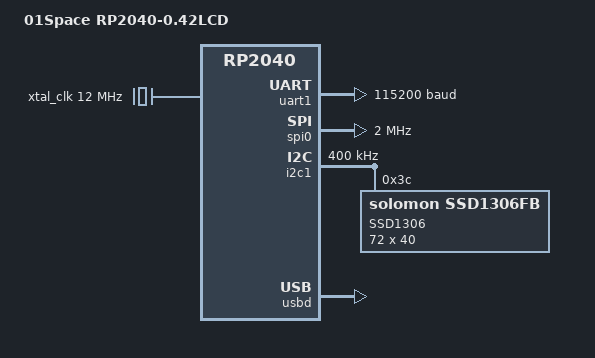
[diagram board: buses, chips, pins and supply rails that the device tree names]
/*
 * Copyright (c) 2021 Yonatan Schachter
 *
 * SPDX-License-Identifier: Apache-2.0
 */

/dts-v1/;

#include <rpi_pico/rp2040.dtsi>
#include "01space_rp2040_042lcd-pinctl.dtsi"
#include "seeed_xiao_connector.dtsi"
#include <freq.h>

/ {
	model = "01Space RP2040-0.42LCD";
	compatible = "zeroonespace,rp2040-0.42lcd", "raspberrypi,rp2040";

	chosen {
		zephyr,sram = &sram0;
		zephyr,flash = &flash0;
		zephyr,console = &uart1;
		zephyr,code-partition = &code_partition;
		zephyr,display = &ssd1306;
	};

	xtal_clk: xtal-clk {
		compatible = "fixed-clock";
		clock-frequency = <12000000>;
		#clock-cells = <0>;
	};


	/* These aliases are provided for compatibility with samples */
	aliases {
	};
};

&flash0 {
	/* 2MB of flash minus the 0x100 used for
	 * the second stage bootloader
	 */
	reg = <0x10000000 DT_SIZE_M(2)>;

	partitions {
		compatible = "fixed-partitions";
		#address-cells = <1>;
		#size-cells = <1>;

		/* Reserved memory for the second stage bootloader */
		second_stage_bootloader: partition@0 {
			label = "second_stage_bootloader";
			reg = <0x00000000 0x100>;
			read-only;
		};

		/*
		 * Usable flash. Starts at 0x100, after the bootloader. The partition
		 * size is 2MB minus the 0x100 bytes taken by the bootloader.
		 */
		code_partition: partition@100 {
			label = "code";
			reg = <0x100 (DT_SIZE_M(2) - 0x100)>;
			read-only;
		};
	};
};

&uart1 {
	current-speed = <115200>;
	status = "okay";
	pinctrl-0 = <&uart1_default>;
	pinctrl-names = "default";
};

&spi0 {
	status = "okay";
	pinctrl-0 = <&spi0_default>;
	pinctrl-names = "default";
	clock-frequency = <DT_FREQ_M(2)>;
};

&i2c1 {
	status = "okay";
	pinctrl-0 = <&i2c1_default>;
	pinctrl-names = "default";
	clock-frequency = <I2C_BITRATE_FAST>;

	ssd1306: ssd1306@3c {
		compatible = "solomon,ssd1306fb";
		reg = <0x3c>;
		label = "SSD1306";
		width = <72>;
		height = <40>;
		segment-offset = <28>;
		page-offset = <0>;
		display-offset = <0>;
		multiplex-ratio = <0x27>;
		segment-remap;
		com-invdir;
		prechargep = <0x22>;
	};
};


&gpio0 {
	status = "okay";
};

zephyr_udc0: &usbd {
	status = "okay";
};
